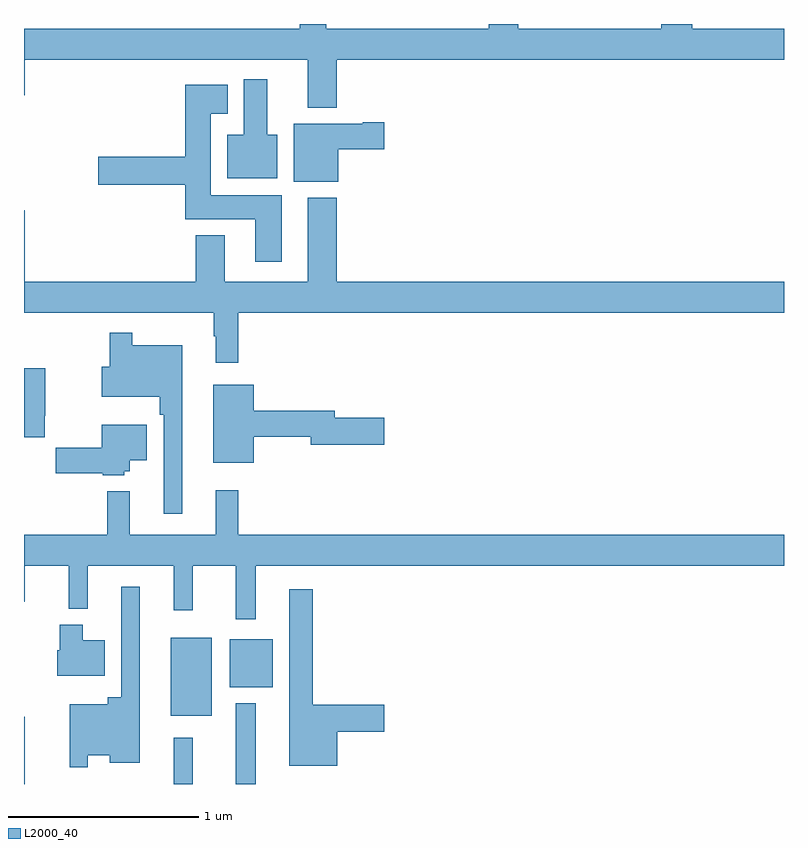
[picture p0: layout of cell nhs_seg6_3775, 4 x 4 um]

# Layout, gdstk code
import gdstk
lib = gdstk.Library(unit=1e-6, precision=1e-09)
def R(c, l, rs):  # rectangles x0, y0, x1, y1
    for r in rs: c.add(gdstk.rectangle(r[:2], r[2:], *l))
def P(c, l, *ps):  # polygons
    for p in ps: c.add(gdstk.Polygon(p, *l))
L2000_40 = (2000, 40)

nhs_seg6_3775 = lib.new_cell('nhs_seg6_3775')
R(nhs_seg6_3775, L2000_40, [(333,967.5,333.004,967.855), (333.788,967.5,333.888,967.744), (334.115,967.5,334.219,967.924), (333.773,967.859,333.988,968.269), (334.082,968.009,334.309,968.263)])
P(nhs_seg6_3775, L2000_40, [(334.646,971.312),(337,971.312),(337,971.476),(336.518,971.476),(336.518,971.5),(336.353,971.5),(336.353,971.476),(335.6,971.476),(335.6,971.5),(335.447,971.5),(335.447,971.476),(334.591,971.476),(334.591,971.5),(334.452,971.5),(334.452,971.476),(333,971.476),(333,971.124),(333.004,971.124),(333.004,971.312),(334.493,971.312),(334.493,971.06),(334.646,971.06)],
  [(334.333,970.918),(334.279,970.918),(334.279,971.209),(334.157,971.209),(334.157,970.918),(334.07,970.918),(334.07,970.688),(334.333,970.688)],
  [(334.357,970.6),(333.982,970.6),(333.982,971.027),(334.072,971.027),(334.072,971.179),(333.848,971.179),(333.848,970.802),(333.39,970.802),(333.39,970.655),(333.848,970.655),(333.848,970.472),(334.217,970.472),(334.217,970.248),(334.357,970.248)],
  [(334.654,970.841),(334.897,970.841),(334.897,970.983),(334.784,970.983),(334.784,970.975),(334.421,970.975),(334.421,970.67),(334.654,970.67)],
  [(334.127,969.98),(337,969.98),(337,970.144),(334.646,970.144),(334.646,970.585),(334.493,970.585),(334.493,970.144),(334.057,970.144),(334.057,970.387),(333.905,970.387),(333.905,970.144),(333.004,970.144),(333.004,970.519),(333,970.519),(333,969.98),(333.999,969.98),(333.999,969.857),(334.01,969.857),(334.01,969.717),(334.127,969.717)],
  [(333.832,969.808),(333.571,969.808),(333.571,969.874),(333.45,969.874),(333.45,969.697),(333.408,969.697),(333.408,969.539),(333.715,969.539),(333.715,969.443),(333.735,969.443),(333.735,968.922),(333.832,968.922)],
  [(333.108,969.439),(333.112,969.439),(333.112,969.688),(333,969.688),(333,969.326),(333.108,969.326)],
  [(334.21,969.328),(334.508,969.328),(334.508,969.286),(334.897,969.286),(334.897,969.428),(334.636,969.428),(334.636,969.464),(334.21,969.464),(334.21,969.601),(333.995,969.601),(333.995,969.191),(334.21,969.191)],
  [(333.528,969.147),(333.556,969.147),(333.556,969.203),(333.646,969.203),(333.646,969.391),(333.41,969.391),(333.41,969.271),(333.168,969.271),(333.168,969.136),(333.414,969.136),(333.414,969.125),(333.528,969.125)],
  [(334.219,968.648),(337,968.648),(337,968.812),(334.127,968.812),(334.127,969.046),(334.01,969.046),(334.01,968.812),(333.557,968.812),(333.557,969.04),(333.439,969.04),(333.439,968.812),(333,968.812),(333,968.46),(333.004,968.46),(333.004,968.648),(333.235,968.648),(333.235,968.423),(333.335,968.423),(333.335,968.648),(333.788,968.648),(333.788,968.415),(333.888,968.415),(333.888,968.648),(334.115,968.648),(334.115,968.367),(334.219,968.367)],
  [(333.336,967.652),(333.452,967.652),(333.452,967.613),(333.61,967.613),(333.61,968.539),(333.513,968.539),(333.513,967.957),(333.44,967.957),(333.44,967.921),(333.24,967.921),(333.24,967.587),(333.336,967.587)],
  [(334.648,967.774),(334.897,967.774),(334.897,967.916),(334.519,967.916),(334.519,968.524),(334.397,968.524),(334.397,967.595),(334.648,967.595)],
  [(333.424,968.257),(333.31,968.257),(333.31,968.338),(333.188,968.338),(333.188,968.205),(333.176,968.205),(333.176,968.069),(333.424,968.069)])

lib.write_gds('nhs_seg6_3775.gds')
